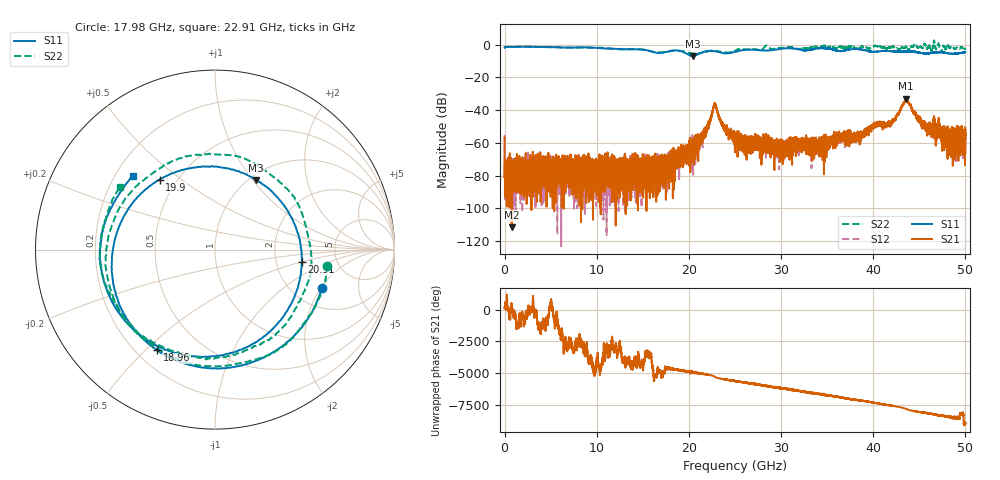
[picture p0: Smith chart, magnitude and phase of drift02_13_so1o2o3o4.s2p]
!Created with skrf (http://scikit-rf.org).
# Hz S RI R 50.0
!freq ReS11 ImS11 ReS21 ImS21 ReS12 ImS12 ReS22 ImS22
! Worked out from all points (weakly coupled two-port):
!   10001 points, 300 kHz to 50 GHz, reference 50 ohm
!   highest |S21| = -32.97 dB at 43.58 GHz (marker M1); lowest = -111.7 dB at 770.3 MHz (marker M2)
!   lowest |S11| = -6.9 dB at 20.4 GHz (marker M3), VSWR 2.63, Z = 53.7 + j52 ohm
!   |S11| at or under -10 dB: nowhere
!   |S22| runs from -5.7 to 2.5 dB; largest |S21 - S12| = 0.0044
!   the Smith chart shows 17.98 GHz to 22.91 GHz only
!   S11 on the Smith chart (normalised r, x): 17.98 GHz: 2.85, -2.03; 18.96 GHz: 0.28, -0.54; 19.9 GHz: 0.40, +0.42; 20.91 GHz: 2.80, -0.51; 22.91 GHz: 0.27, +0.36
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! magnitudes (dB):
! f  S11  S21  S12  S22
! 300 kHz  -2.0  -56.7  -55.2  -2.1
! 260.3 MHz  -1.4  -76.1  -73.1  -1.4
! 770.3 MHz  -1.5  -111.7  -81.9  -1.5
! 8.335 GHz  -1.7  -70.2  -91.4  -1.9
! 16.67 GHz  -5.2  -76.2  -73.0  -4.8
! 17.98 GHz  -4.0  -69.0  -68.8  -4.0
! 18.96 GHz  -3.8  -69.8  -67.3  -3.9
! 19.9 GHz  -6.1  -63.2  -66.2  -5.2
! 20.4 GHz  -6.9  -61.6  -62.4  -5.4
! 20.91 GHz  -6.2  -59.3  -59.5  -5.6
! 22.91 GHz  -4.2  -37.2  -36.9  -4.0
! 23.77 GHz  -5.3  -50.1  -49.9  -4.6
! 25 GHz  -4.5  -57.7  -56.7  -3.9
! 29.9 GHz  -2.7  -67.8  -65.7  -2.0
! 33.34 GHz  -3.0  -60.3  -61.7  -1.6
! 37.97 GHz  -2.8  -56.9  -57.3  -2.2
! 40.32 GHz  -4.4  -48.7  -49.0  -0.9
! 41.67 GHz  -4.0  -46.6  -47.6  -1.9
! 43.58 GHz  -4.6  -33.0  -33.7  -1.4
! 45.7 GHz  -5.4  -52.7  -52.0  -0.8
! 49.75 GHz  -4.8  -58.5  -63.5  -2.6
! 50 GHz  -4.6  -66.4  -56.9  -2.6
